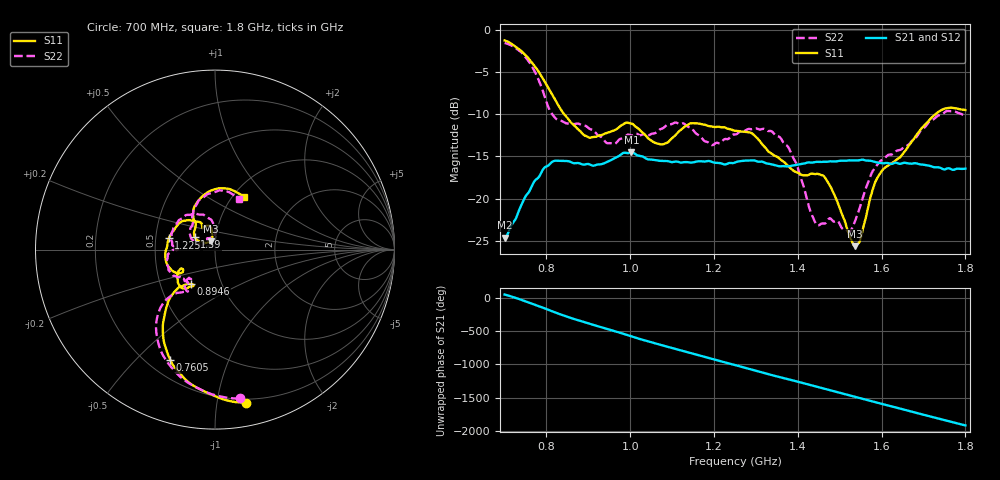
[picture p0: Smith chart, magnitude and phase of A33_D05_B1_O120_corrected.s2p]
! Created with skrf 1.9.0 (http://scikit-rf.org).
# Hz S RI R 50.0
!freq ReS11 ImS11 ReS21 ImS21 ReS12 ImS12 ReS22 ImS22
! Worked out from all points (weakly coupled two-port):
!   1601 points, 700 MHz to 1.8 GHz, reference 50 ohm
!   highest |S21| = -14.51 dB at 1.002 GHz (marker M1); lowest = -24.6 dB at 700 MHz (marker M2)
!   lowest |S11| = -25.7 dB at 1.536 GHz (marker M3), VSWR 1.11, Z = 47.4 + j4.39 ohm
!   |S11| at or under -10 dB: 842.7 MHz to 1.728 GHz (885.2 MHz wide, 68.9 % of centre)
!   |S22| runs from -23.9 to -1.5 dB; largest |S21 - S12| = 0.0034
!   S11 on the Smith chart (normalised r, x): 700 MHz: 0.17, -1.21; 760.5 MHz: 0.29, -0.63; 894.6 MHz: 0.71, -0.29; 1.225 GHz: 0.59, +0.08; 1.59 GHz: 0.79, +0.11; 1.8 GHz: 1.12, +0.75
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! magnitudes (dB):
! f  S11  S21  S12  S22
! 700 MHz  -1.2  -24.6  -24.4  -1.5
! 760.5 MHz  -3.6  -19.0  -18.9  -3.9
! 818.2 MHz  -8.0  -15.5  -15.6  -10.3
! 883.6 MHz  -12.2  -15.9  -15.8  -11.2
! 894.6 MHz  -12.6  -15.9  -16.0  -11.4
! 946.8 MHz  -12.2  -15.6  -15.6  -13.4
! 1.002 GHz  -11.1  -14.5  -14.6  -12.5
! 1.067 GHz  -13.5  -15.5  -15.4  -11.9
! 1.145 GHz  -11.1  -15.7  -15.7  -11.6
! 1.225 GHz  -11.5  -15.9  -15.9  -13.0
! 1.25 GHz  -11.9  -15.7  -15.7  -12.4
! 1.358 GHz  -15.3  -16.2  -16.1  -12.8
! 1.396 GHz  -16.9  -16.0  -16.0  -15.8
! 1.434 GHz  -17.0  -15.7  -15.7  -22.0
! 1.472 GHz  -18.1  -15.6  -15.6  -22.5
! 1.522 GHz  -24.2  -15.5  -15.5  -23.9
! 1.536 GHz  -25.7  -15.5  -15.5  -22.8
! 1.549 GHz  -24.9  -15.4  -15.4  -20.9
! 1.59 GHz  -17.6  -15.7  -15.7  -16.0
! 1.617 GHz  -16.0  -15.8  -15.8  -14.8
! 1.734 GHz  -9.7  -16.3  -16.3  -10.1
! 1.8 GHz  -9.5  -16.4  -16.4  -10.1
